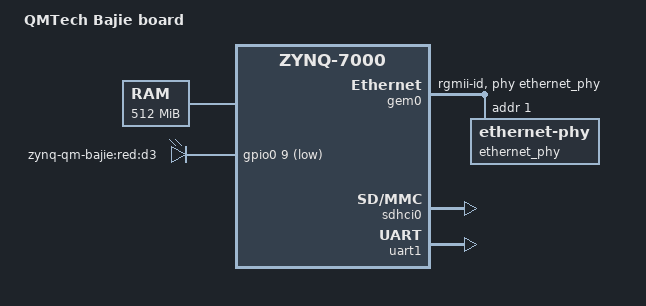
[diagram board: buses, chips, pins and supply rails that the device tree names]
// SPDX-License-Identifier: GPL-2.0+
/dts-v1/;
#include "zynq-7000.dtsi"
#include <dt-bindings/gpio/gpio.h>

/ {
	model = "QMTech Bajie board";
	compatible = "qmtech,zynq-qm-bajie", "xlnx,zynq-7000";

	aliases {
		ethernet0 = &gem0;
		serial0 = &uart1;
	};

	memory@0 {
		device_type = "memory";
		reg = <0x0 0x20000000>;
	};

	chosen {
		bootargs = "";
		stdout-path = "serial0:115200n8";
	};

	gpio-leds {
		compatible = "gpio-leds";

		led-ld4 {
			label = "zynq-qm-bajie:red:d3";
			gpios = <&gpio0 9 GPIO_ACTIVE_LOW>;
		};
	};
};

&clkc {
	ps-clk-frequency = <33333333>;
};

&gem0 {
	status = "okay";
	phy-mode = "rgmii-id";
	phy-handle = <&ethernet_phy>;

	ethernet_phy: ethernet-phy@1 {
		reg = <1>;
		device_type = "ethernet-phy";
	};
};

&sdhci0 {
	status = "okay";
};

&uart1 {
	status = "okay";
};

